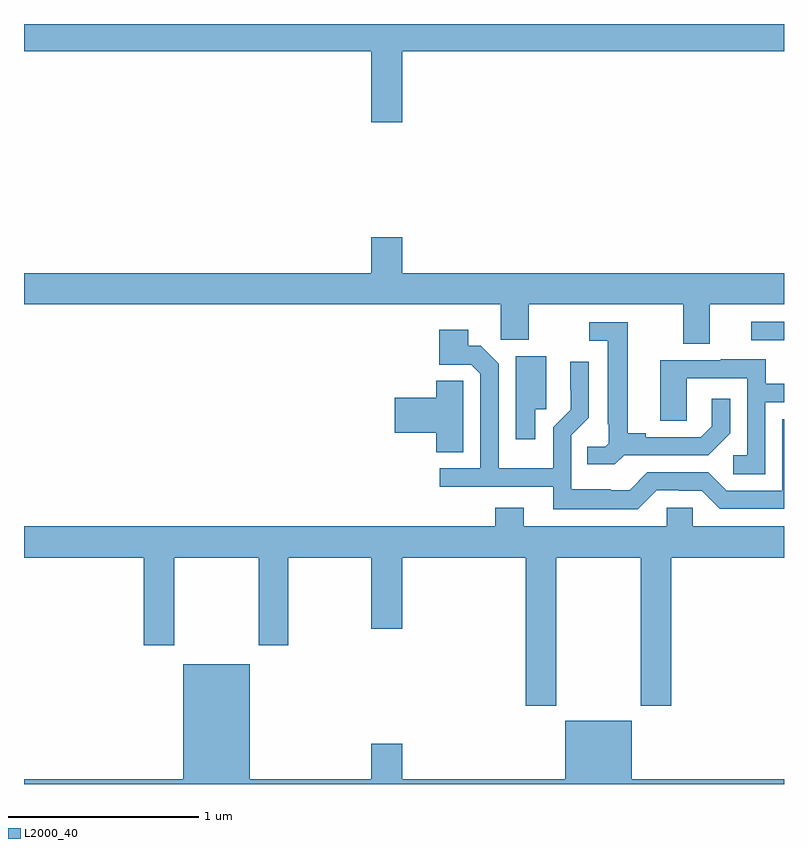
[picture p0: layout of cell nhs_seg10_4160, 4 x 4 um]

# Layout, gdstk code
import gdstk
lib = gdstk.Library(unit=1e-6, precision=1e-09)
def R(c, l, rs):  # rectangles x0, y0, x1, y1
    for r in rs: c.add(gdstk.rectangle(r[:2], r[2:], *l))
def P(c, l, *ps):  # polygons
    for p in ps: c.add(gdstk.Polygon(p, *l))
L2000_40 = (2000, 40)

nhs_seg10_4160 = lib.new_cell('nhs_seg10_4160')
R(nhs_seg10_4160, L2000_40, [(346.827,1258.836,347,1258.932)])
P(nhs_seg10_4160, L2000_40, [(344.992,1260.356),(347,1260.356),(347,1260.5),(343,1260.5),(343,1260.356),(344.828,1260.356),(344.828,1259.982),(344.992,1259.982)],
  [(346.609,1259.024),(347,1259.024),(347,1259.188),(344.992,1259.188),(344.992,1259.377),(344.828,1259.377),(344.828,1259.188),(343,1259.188),(343,1259.024),(345.51,1259.024),(345.51,1258.837),(345.657,1258.837),(345.657,1259.024),(346.469,1259.024),(346.469,1258.816),(346.609,1258.816)],
  [(346.158,1258.23),(346.6,1258.23),(346.716,1258.346),(346.716,1258.528),(346.619,1258.528),(346.619,1258.383),(346.562,1258.326),(346.273,1258.326),(346.273,1258.346),(346.177,1258.346),(346.177,1258.929),(345.975,1258.929),(345.975,1258.833),(346.073,1258.833),(346.073,1258.393),(346.077,1258.393),(346.077,1258.293),(346.059,1258.275),(345.964,1258.275),(345.964,1258.183),(346.11,1258.183)],
  [(346.329,1258.047),(346.446,1258.047),(346.446,1258.044),(346.566,1258.044),(346.662,1257.948),(347,1257.948),(347,1258.42),(346.992,1258.42),(346.992,1258.044),(346.698,1258.044),(346.602,1258.14),(346.281,1258.14),(346.188,1258.047),(346.088,1258.047),(346.088,1258.051),(345.879,1258.051),(345.879,1258.335),(345.972,1258.428),(345.972,1258.723),(345.876,1258.723),(345.876,1258.576),(345.878,1258.576),(345.878,1258.47),(345.786,1258.378),(345.786,1258.162),(345.498,1258.162),(345.498,1258.713),(345.405,1258.806),(345.337,1258.806),(345.337,1258.891),(345.185,1258.891),(345.185,1258.707),(345.354,1258.707),(345.402,1258.659),(345.402,1258.161),(345.189,1258.161),(345.189,1258.065),(345.785,1258.065),(345.785,1257.947),(346.229,1257.947)],
  [(345.691,1258.473),(345.748,1258.473),(345.748,1258.752),(345.587,1258.752),(345.587,1258.314),(345.691,1258.314)],
  [(346.902,1258.509),(347,1258.509),(347,1258.606),(346.903,1258.606),(346.903,1258.735),(346.667,1258.735),(346.667,1258.731),(346.349,1258.731),(346.349,1258.411),(346.488,1258.411),(346.488,1258.635),(346.806,1258.635),(346.806,1258.23),(346.734,1258.23),(346.734,1258.129),(346.902,1258.129)],
  [(345.313,1258.514),(345.312,1258.514),(345.312,1258.622),(345.17,1258.622),(345.17,1258.532),(344.952,1258.532),(344.952,1258.349),(345.17,1258.349),(345.17,1258.246),(345.313,1258.246)],
  [(345.801,1257.692),(346.246,1257.692),(346.246,1256.913),(346.406,1256.913),(346.406,1257.692),(347,1257.692),(347,1257.856),(346.521,1257.856),(346.521,1257.954),(346.383,1257.954),(346.383,1257.856),(345.631,1257.856),(345.631,1257.955),(345.479,1257.955),(345.479,1257.856),(343,1257.856),(343,1257.692),(343.631,1257.692),(343.631,1257.231),(343.791,1257.231),(343.791,1257.692),(344.236,1257.692),(344.236,1257.231),(344.391,1257.231),(344.391,1257.692),(344.828,1257.692),(344.828,1257.318),(344.992,1257.318),(344.992,1257.692),(345.641,1257.692),(345.641,1256.913),(345.801,1256.913)],
  [(347,1256.524),(346.198,1256.524),(346.198,1256.833),(345.848,1256.833),(345.848,1256.524),(344.992,1256.524),(344.992,1256.713),(344.828,1256.713),(344.828,1256.524),(344.188,1256.524),(344.188,1257.13),(343.838,1257.13),(343.838,1256.524),(343,1256.524),(343,1256.5),(347,1256.5)])

lib.write_gds('nhs_seg10_4160.gds')
